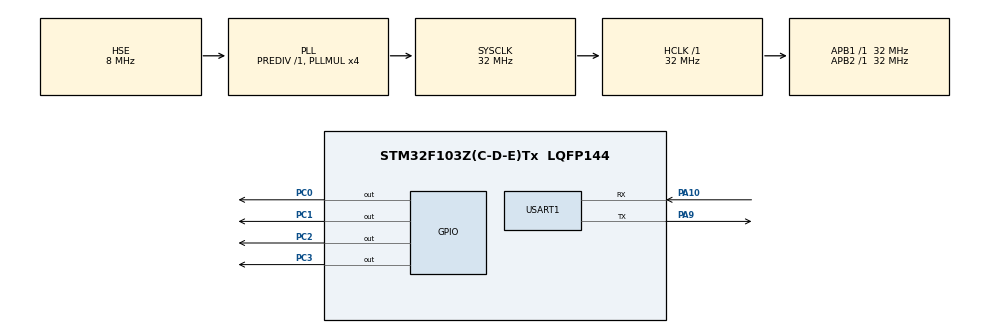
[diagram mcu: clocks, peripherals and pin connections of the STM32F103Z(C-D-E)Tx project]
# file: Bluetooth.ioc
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Mcu.Family=STM32F1
Mcu.Name=STM32F103Z(C-D-E)Tx
Mcu.Package=LQFP144
NVIC.PriorityGroup=NVIC_PRIORITYGROUP_4
NVIC.USART1_IRQn=true\:0\:0\:false\:false\:true\:true\:true
OSC_IN.Mode=HSE-External-Oscillator
OSC_IN.Signal=RCC_OSC_IN
OSC_OUT.Mode=HSE-External-Oscillator
OSC_OUT.Signal=RCC_OSC_OUT
PA10.Mode=Asynchronous
PA10.Signal=USART1_RX
PA13.Mode=Serial_Wire
PA13.Signal=SYS_JTMS-SWDIO
PA14.Mode=Serial_Wire
PA14.Signal=SYS_JTCK-SWCLK
PA9.Mode=Asynchronous
PA9.Signal=USART1_TX
PC0.Signal=GPIO_Output
PC1.Signal=GPIO_Output
PC14-OSC32_IN.Mode=LSE-External-Oscillator
PC14-OSC32_IN.Signal=RCC_OSC32_IN
PC15-OSC32_OUT.Mode=LSE-External-Oscillator
PC15-OSC32_OUT.Signal=RCC_OSC32_OUT
PC2.Signal=GPIO_Output
PC3.Signal=GPIO_Output
ProjectManager.HeapSize=0x200
ProjectManager.StackSize=0x400
ProjectManager.TargetToolchain=MDK-ARM V5.27
RCC.AHBFreq_Value=32000000
RCC.APB1Freq_Value=32000000
RCC.APB1TimFreq_Value=32000000
RCC.APB2Freq_Value=32000000
RCC.APB2TimFreq_Value=32000000
RCC.HCLKFreq_Value=32000000
RCC.PLLMUL=RCC_PLL_MUL4
RCC.PLLSourceVirtual=RCC_PLLSOURCE_HSE
RCC.SYSCLKFreq_VALUE=32000000
RCC.SYSCLKSource=RCC_SYSCLKSOURCE_PLLCLK
RCC.USBFreq_Value=32000000
USART1.VirtualMode=VM_ASYNC
board=custom

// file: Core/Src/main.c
/* USER CODE BEGIN Header */
/**
  ******************************************************************************
  * @file           : main.c
  * @brief          : Main program body
  ******************************************************************************
  * @attention
  *
  * <h2><center>&copy; Copyright (c) 2020 STMicroelectronics.
  * All rights reserved.</center></h2>
  *
  * This software component is licensed by ST under BSD 3-Clause license,
  * the "License"; You may not use this file except in compliance with the
  * License. You may obtain a copy of the License at:
  *                        opensource.org/licenses/BSD-3-Clause
  *
	*TX->PA10,RX->PA9
	*单片机电源不可使用USB串口供电，需单独供电
	*数据延迟较大，不可自动发送数据，否则可能数据堵塞
	*使用前进入AT命令，查看各项数据
	*切记，将波特率设置为9600
  ******************************************************************************
  */
/* USER CODE END Header */
#include "main.h"
#include "usart.h"
#include "gpio.h"

/* USER CODE BEGIN Includes */
#include "stdio.h"
#define led1_on() HAL_GPIO_WritePin(GPIOC,GPIO_PIN_0,GPIO_PIN_RESET)
#define led1_off() HAL_GPIO_WritePin(GPIOC,GPIO_PIN_0,GPIO_PIN_SET)
#define led2_on() HAL_GPIO_WritePin(GPIOC,GPIO_PIN_1,GPIO_PIN_RESET)
#define led2_off() HAL_GPIO_WritePin(GPIOC,GPIO_PIN_1,GPIO_PIN_SET)

uint8_t rx_dat=0;
/* USER CODE END Includes */

void SystemClock_Config(void);

/* USER CODE BEGIN 0 */
void HAL_UART_RxCpltCallback(UART_HandleTypeDef *huart)
{

    if(huart->Instance == USART1)
    {

			switch(rx_dat)
			{
				case 0xd0:
					HAL_GPIO_TogglePin(GPIOC,GPIO_PIN_0);
			  	printf("D0翻转！\r\n");
			  	HAL_UART_Receive_IT(&huart1,&rx_dat,1);
				break;
				case 0xd1:
					HAL_GPIO_TogglePin(GPIOC,GPIO_PIN_1);
			  	printf("D1翻转！\r\n");
			  	HAL_UART_Receive_IT(&huart1,&rx_dat,1);
				break;
				case 0xd2:
					HAL_GPIO_TogglePin(GPIOC,GPIO_PIN_2);
			  	printf("D2翻转！\r\n");
			  	HAL_UART_Receive_IT(&huart1,&rx_dat,1);
				break;
				case 0xd3:
					HAL_GPIO_TogglePin(GPIOC,GPIO_PIN_3);
			  	printf("D3翻转！\r\n");
			  	HAL_UART_Receive_IT(&huart1,&rx_dat,1);
				break;
			}

			/*
        if(rx_dat == 0xa1)
        {
            led1_on();

          led2_on();
	    printf("led open!\r\n");
	    led2_off();
	    HAL_UART_Receive_IT(&huart1,&rx_dat,1);
        }
        else if(rx_dat == 0xa2)
        {
	    led1_off();

	    led2_on();
	    printf("led off!\r\n");
	    led2_off();
	    HAL_UART_Receive_IT(&huart1,&rx_dat,1);
        }
			*/
    }
}
/* USER CODE END 0 */

int main(void)
{

  /* MCU Configuration--------------------------------------------------------*/

  /* Reset of all peripherals, Initializes the Flash interface and the Systick. */
  HAL_Init();

  /* Configure the system clock */
  SystemClock_Config();

  /* Initialize all configured peripherals */
  MX_GPIO_Init();
  MX_USART1_UART_Init();
  /* USER CODE BEGIN 2 */
	led1_on();
  printf("bluetooth text!\r\n");
 led1_off();
	HAL_UART_Receive_IT(&huart1,&rx_dat,1);
  /* USER CODE END 2 */

  /* Infinite loop */
  while (1)
  {

  }
}

void SystemClock_Config(void)
{
  RCC_OscInitTypeDef RCC_OscInitStruct = {0};
  RCC_ClkInitTypeDef RCC_ClkInitStruct = {0};

  /** Initializes the RCC Oscillators according to the specified parameters
  * in the RCC_OscInitTypeDef structure.
  */
  RCC_OscInitStruct.OscillatorType = RCC_OSCILLATORTYPE_HSE;
  RCC_OscInitStruct.HSEState = RCC_HSE_ON;
  RCC_OscInitStruct.HSEPredivValue = RCC_HSE_PREDIV_DIV1;
  RCC_OscInitStruct.HSIState = RCC_HSI_ON;
  RCC_OscInitStruct.PLL.PLLState = RCC_PLL_ON;
  RCC_OscInitStruct.PLL.PLLSource = RCC_PLLSOURCE_HSE;
  RCC_OscInitStruct.PLL.PLLMUL = RCC_PLL_MUL4;
  if (HAL_RCC_OscConfig(&RCC_OscInitStruct) != HAL_OK)
  {
    Error_Handler();
  }
  /** Initializes the CPU, AHB and APB buses clocks
  */
  RCC_ClkInitStruct.ClockType = RCC_CLOCKTYPE_HCLK|RCC_CLOCKTYPE_SYSCLK
                              |RCC_CLOCKTYPE_PCLK1|RCC_CLOCKTYPE_PCLK2;
  RCC_ClkInitStruct.SYSCLKSource = RCC_SYSCLKSOURCE_PLLCLK;
  RCC_ClkInitStruct.AHBCLKDivider = RCC_SYSCLK_DIV1;
  RCC_ClkInitStruct.APB1CLKDivider = RCC_HCLK_DIV1;
  RCC_ClkInitStruct.APB2CLKDivider = RCC_HCLK_DIV1;

  if (HAL_RCC_ClockConfig(&RCC_ClkInitStruct, FLASH_LATENCY_1) != HAL_OK)
  {
    Error_Handler();
  }
}

void Error_Handler(void)
{
}

/************************ (C) COPYRIGHT STMicroelectronics *****END OF FILE****/
